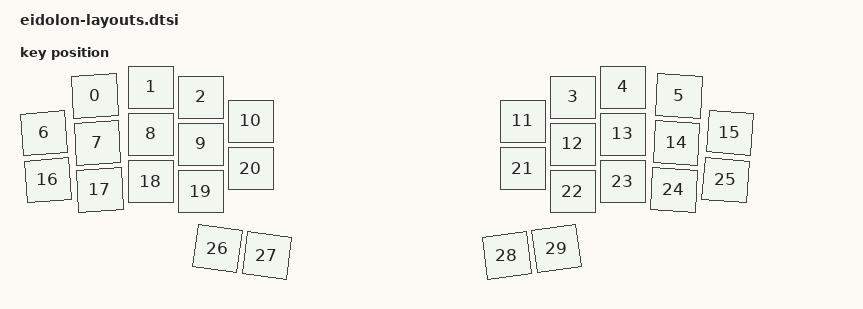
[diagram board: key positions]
/*
 * Copyright (c) 2026 Jonny Irwin
 * SPDX-License-Identifier: MIT
 *
 * Key positions generated from the Ergogen points of pcb/eidolon.yaml in the
 * hardware repo (`node build.js` -> output/points/points.yaml), in matrix-
 * transform order. 18mm column / 17mm row Choc spacing, pinky splayed 5deg,
 * ring 3deg, thumbs -8deg; the right half is the true mirror (axis +85mm),
 * so the two halves sit apart as on a real split -- not a compact unibody.
 *
 * Conversion: ZMK uses 100 units = 1u; here 100 units = 18mm (isotropic, so
 * the real aspect ratio is preserved). x,y is the unrotated top-left corner;
 * r is centidegrees clockwise-positive (Ergogen is CCW in a y-up frame, so the
 * sign is negated and y is flipped); rx,ry pivot about each key's own centre.
 */

#include <physical_layouts.dtsi>

/ {
    physical_layout0: physical_layout_0 {
        compatible = "zmk,physical-layout";
        display-name = "Default";

        keys  //                     w    h    x    y     rot    rx    ry
            = <&key_physical_attrs   97   92  102   18  (-300)   151   64>  // L ring  top
            , <&key_physical_attrs   97   92  214    0       0     0    0>  // L mid   top
            , <&key_physical_attrs   97   92  314   20       0     0    0>  // L index top
            , <&key_physical_attrs   97   92 1058   20       0     0    0>  // R index top
            , <&key_physical_attrs   97   92 1158    0       0     0    0>  // R mid   top
            , <&key_physical_attrs   97   92 1270   18   (300)  1318   64>  // R ring  top
            , <&key_physical_attrs   97   92    0   92  (-500)    49  138>  // L pinky home
            , <&key_physical_attrs   97   92  107  112  (-300)   156  158>  // L ring  home
            , <&key_physical_attrs   97   92  214   94       0     0    0>  // L mid   home
            , <&key_physical_attrs   97   92  314  114       0     0    0>  // L index home
            , <&key_physical_attrs   97   92  414   68       0     0    0>  // L inner home
            , <&key_physical_attrs   97   92  958   68       0     0    0>  // R inner home
            , <&key_physical_attrs   97   92 1058  114       0     0    0>  // R index home
            , <&key_physical_attrs   97   92 1158   94       0     0    0>  // R mid   home
            , <&key_physical_attrs   97   92 1265  112   (300)  1313  158>  // R ring  home
            , <&key_physical_attrs   97   92 1372   92   (500)  1421  138>  // R pinky home
            , <&key_physical_attrs   97   92    8  186  (-500)    57  232>  // L pinky bottom
            , <&key_physical_attrs   97   92  112  206  (-300)   161  252>  // L ring  bottom
            , <&key_physical_attrs   97   92  214  189       0     0    0>  // L mid   bottom
            , <&key_physical_attrs   97   92  314  209       0     0    0>  // L index bottom
            , <&key_physical_attrs   97   92  414  163       0     0    0>  // L inner bottom
            , <&key_physical_attrs   97   92  958  163       0     0    0>  // R inner bottom
            , <&key_physical_attrs   97   92 1058  209       0     0    0>  // R index bottom
            , <&key_physical_attrs   97   92 1158  189       0     0    0>  // R mid   bottom
            , <&key_physical_attrs   97   92 1260  206   (300)  1308  252>  // R ring  bottom
            , <&key_physical_attrs   97   92 1364  186   (500)  1412  232>  // R pinky bottom
            , <&key_physical_attrs   97   92  347  323   (800)   396  369>  // L thumb inner
            , <&key_physical_attrs   97   92  446  337   (800)   495  383>  // L thumb outer
            , <&key_physical_attrs   97   92  926  337  (-800)   974  383>  // R thumb outer
            , <&key_physical_attrs   97   92 1025  323  (-800)  1073  369>  // R thumb inner
            ;
    };
};
